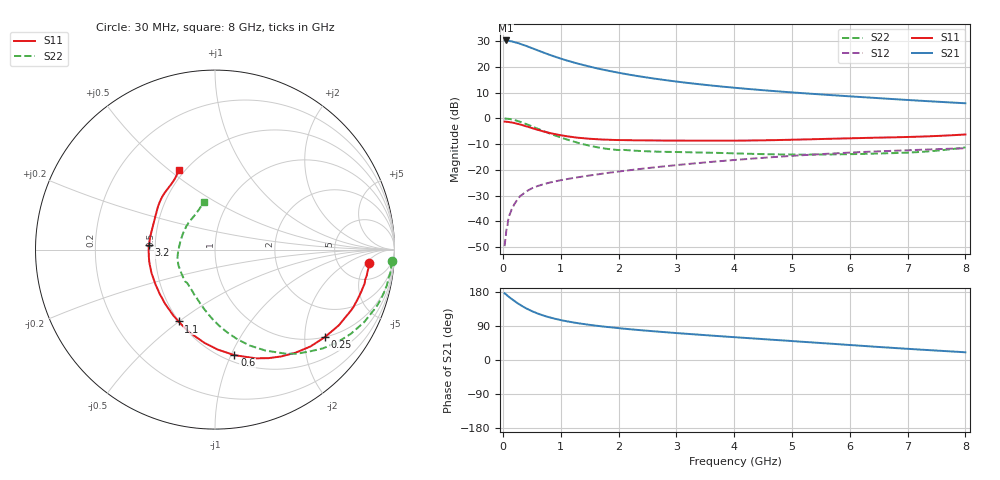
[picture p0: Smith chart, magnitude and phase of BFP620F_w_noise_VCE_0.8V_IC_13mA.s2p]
! Infineon Technologies  Discrete & RF Semiconductors
! BFP620F
! VCE =  0.8 V,  IC =  13 mA
! Common Emitter S-Parameters:  Dec 2014
# GHz  S  MA  R  50
!  f  S11  S21  S12  S22
! GHz  MAG  ANG  MAG  ANG  MAG  ANG  MAG  ANG
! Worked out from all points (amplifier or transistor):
!   95 points, 30 MHz to 8 GHz, reference 50 ohm
!   highest |S21| = 30.2 dB at 50 MHz (marker M1)
!   |S21| within 3 dB of that: start of sweep to 505.3 MHz
!   unconditionally stable (mu >= 1): 3.591 GHz to end of sweep
!   at 300 MHz: K = 0.21, MSG = 29.5 dB, |S12| = -30.2 dB
!   at 3.3 GHz: K = 0.99, MSG = 15.5 dB, |S12| = -17.5 dB
!   at 8 GHz: K = 1.08, MAG = 7.0 dB, |S12| = -11.6 dB
!   lowest NFmin = 0.66 dB at 450 MHz
!   S11 on the Smith chart (normalised r, x): 30 MHz: 10, -6; 250 MHz: 1.00, -2.51; 600 MHz: 0.56, -1.03; 1.1 GHz: 0.50, -0.50; 3.2 GHz: 0.46, +0.03; 8 GHz: 0.47, +0.54
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0.03  0.8635 -4.9  32.33 176.1  0.0033 85.2  0.9871 -3.8
0.05  0.8585 -8.3  32.38 173.5  0.0051 72.8  0.9855 -6.6
0.09  0.8503 -14.6  32.07 168.5  0.0105 85.4  0.9779 -11.9
0.15  0.8307 -24.0  31.1 161.3  0.0169 80.3  0.9532 -19.6
0.25  0.7824 -38.6  29.02 150.3  0.0264 71.3  0.8905 -31.8
0.3  0.7578 -45.4  27.86 145.5  0.031 68.2  0.8538 -37.4
0.4  0.6999 -58.3  25.48 136.5  0.0378 64.0  0.7739 -47.2
0.5  0.6471 -69.4  23.05 129.1  0.0437 59.8  0.699 -56.0
0.6  0.598 -79.6  20.86 122.7  0.0484 56.9  0.6283 -63.5
0.7  0.5569 -88.5  18.91 117.4  0.0524 54.8  0.5669 -70.3
0.8  0.5223 -96.6  17.18 112.8  0.0562 53.4  0.5126 -76.2
0.9  0.4925 -103.9  15.7 108.9  0.0595 52.2  0.4655 -81.7
1.1  0.4486 -116.9  13.3 102.3  0.0658 51.1  0.3899 -91.7
1.4  0.4103 -132.8  10.74 94.9  0.0746 50.3  0.3123 -105.1
1.7  0.3878 -145.7  8.946 89.0  0.0835 50.0  0.265 -118.1
2  0.3781 -156.2  7.661 84.1  0.0925 49.7  0.242 -130.0
2.7  0.3707 -174.3  5.725 74.7  0.114 48.1  0.2247 -149.8
3.2  0.3683 175.8  4.853 68.9  0.1296 46.5  0.2194 -159.7
4.1  0.3692 160.9  3.829 59.2  0.1583 42.7  0.2073 -174.7
5.4  0.3935 144.7  2.957 45.8  0.1987 35.0  0.1979 160.1
6.7  0.4258 129.6  2.378 32.5  0.2329 25.9  0.2102 133.4
8  0.4853 114.7  1.957 20.3  0.2621 17.0  0.2716 103.4
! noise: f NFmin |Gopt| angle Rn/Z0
0.45  0.66  0.19  8  0.2
0.9  0.73  0.17  18  0.18
1.5  0.78  0.17  20  0.13
1.8  0.81  0.15  23  0.11
1.9  0.82  0.11  37  0.13
2.4  0.86  0.1  53  0.12
3.5  0.95  0.09  78  0.12
5.5  1.11  0.11  197  0.09
6  1.15  0.1  226  0.13
